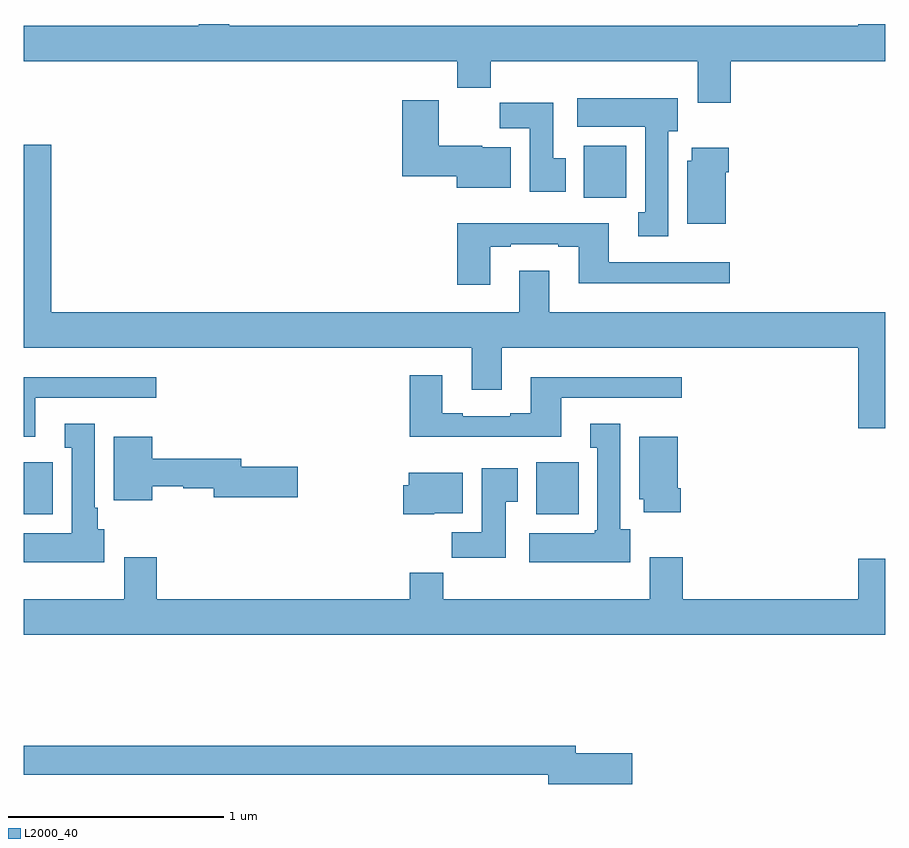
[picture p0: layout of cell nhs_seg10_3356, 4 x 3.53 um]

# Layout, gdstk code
import gdstk
lib = gdstk.Library(unit=1e-6, precision=1e-09)
def R(c, l, rs):  # rectangles x0, y0, x1, y1
    for r in rs: c.add(gdstk.rectangle(r[:2], r[2:], *l))
def P(c, l, *ps):  # polygons
    for p in ps: c.add(gdstk.Polygon(p, *l))
L2000_40 = (2000, 40)

nhs_seg10_3356 = lib.new_cell('nhs_seg10_3356')
R(nhs_seg10_3356, L2000_40, [(293,1286.222,293.134,1286.464), (295.379,1286.222,295.576,1286.464), (295.601,1287.692,295.798,1287.934)])
P(nhs_seg10_3356, L2000_40, [(296.282,1288.328),(297,1288.328),(297,1288.5),(296.876,1288.5),(296.876,1288.492),(293.953,1288.492),(293.953,1288.5),(293.813,1288.5),(293.813,1288.492),(293,1288.492),(293,1288.328),(295.013,1288.328),(295.013,1288.204),(295.169,1288.204),(295.169,1288.328),(296.129,1288.328),(296.129,1288.134),(296.282,1288.134)],
  [(295.993,1288.002),(296.038,1288.002),(296.038,1288.156),(295.569,1288.156),(295.569,1288.022),(295.886,1288.022),(295.886,1287.626),(295.853,1287.626),(295.853,1287.513),(295.993,1287.513)],
  [(295.261,1287.928),(295.128,1287.928),(295.128,1287.934),(294.928,1287.934),(294.928,1288.147),(294.758,1288.147),(294.758,1287.794),(295.01,1287.794),(295.01,1287.74),(295.261,1287.74)],
  [(295.516,1287.876),(295.459,1287.876),(295.459,1288.135),(295.21,1288.135),(295.21,1288.016),(295.349,1288.016),(295.349,1287.72),(295.516,1287.72)],
  [(297,1287.16),(295.441,1287.16),(295.441,1287.355),(295.301,1287.355),(295.301,1287.16),(293.126,1287.16),(293.126,1287.94),(293,1287.94),(293,1286.996),(295.079,1286.996),(295.079,1286.802),(295.219,1286.802),(295.219,1286.996),(296.876,1286.996),(296.876,1286.622),(297,1286.622)],
  [(296.26,1287.812),(296.273,1287.812),(296.273,1287.925),(296.102,1287.925),(296.102,1287.864),(296.081,1287.864),(296.081,1287.572),(296.26,1287.572)],
  [(295.165,1287.465),(295.261,1287.465),(295.261,1287.477),(295.481,1287.477),(295.481,1287.465),(295.577,1287.465),(295.577,1287.296),(296.278,1287.296),(296.278,1287.393),(295.717,1287.393),(295.717,1287.574),(295.013,1287.574),(295.013,1287.288),(295.165,1287.288)],
  [(295.495,1286.763),(296.056,1286.763),(296.056,1286.86),(295.355,1286.86),(295.355,1286.692),(295.259,1286.692),(295.259,1286.679),(295.039,1286.679),(295.039,1286.692),(294.943,1286.692),(294.943,1286.869),(294.791,1286.869),(294.791,1286.582),(295.495,1286.582)],
  [(293.053,1286.763),(293.614,1286.763),(293.614,1286.86),(293,1286.86),(293,1286.582),(293.053,1286.582)],
  [(295.816,1286.154),(295.771,1286.154),(295.771,1286.644),(295.631,1286.644),(295.631,1286.531),(295.664,1286.531),(295.664,1286.148),(295.651,1286.148),(295.651,1286.134),(295.347,1286.134),(295.347,1286),(295.816,1286)],
  [(293.374,1286.154),(293.344,1286.154),(293.344,1286.254),(293.329,1286.254),(293.329,1286.644),(293.189,1286.644),(293.189,1286.531),(293.222,1286.531),(293.222,1286.134),(293,1286.134),(293,1286),(293.374,1286)],
  [(296.051,1286.344),(296.038,1286.344),(296.038,1286.584),(295.859,1286.584),(295.859,1286.292),(295.88,1286.292),(295.88,1286.232),(296.051,1286.232)],
  [(293.596,1286.352),(293.739,1286.352),(293.739,1286.344),(293.882,1286.344),(293.882,1286.302),(294.271,1286.302),(294.271,1286.444),(294.01,1286.444),(294.01,1286.48),(293.596,1286.48),(293.596,1286.584),(293.417,1286.584),(293.417,1286.288),(293.596,1286.288)],
  [(295.237,1286.281),(295.294,1286.281),(295.294,1286.437),(295.127,1286.437),(295.127,1286.14),(294.988,1286.14),(294.988,1286.022),(295.237,1286.022)],
  [(294.906,1286.228),(295.039,1286.228),(295.039,1286.416),(294.788,1286.416),(294.788,1286.358),(294.763,1286.358),(294.763,1286.222),(294.906,1286.222)],
  [(297,1286.017),(296.876,1286.017),(296.876,1285.828),(296.06,1285.828),(296.06,1286.023),(295.907,1286.023),(295.907,1285.828),(294.947,1285.828),(294.947,1285.952),(294.791,1285.952),(294.791,1285.828),(293.618,1285.828),(293.618,1286.023),(293.465,1286.023),(293.465,1285.828),(293,1285.828),(293,1285.664),(297,1285.664)],
  [(295.825,1285.112),(295.564,1285.112),(295.564,1285.148),(293,1285.148),(293,1285.012),(295.436,1285.012),(295.436,1284.97),(295.825,1284.97)])

lib.write_gds('nhs_seg10_3356.gds')
